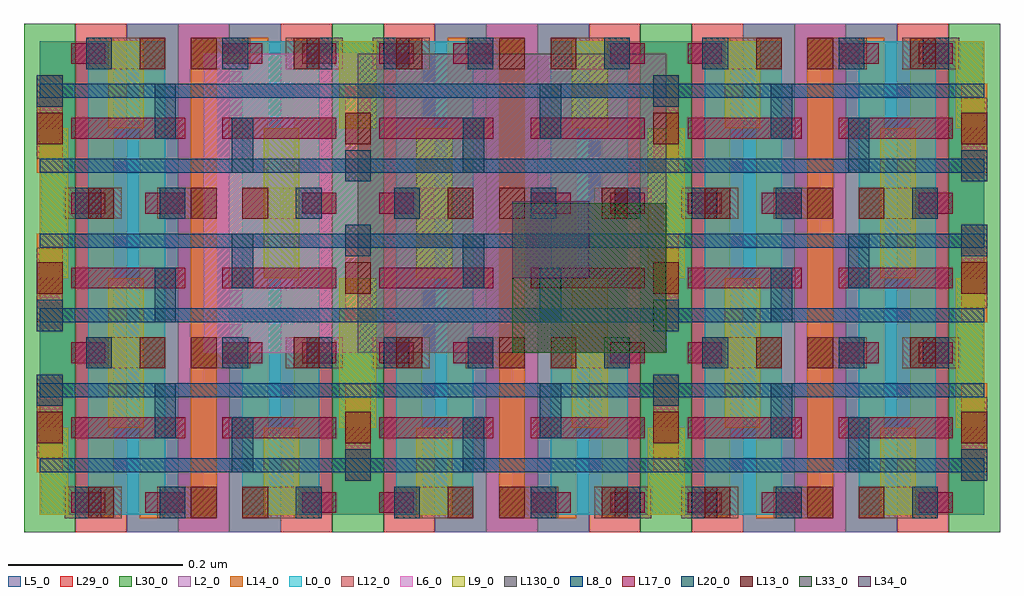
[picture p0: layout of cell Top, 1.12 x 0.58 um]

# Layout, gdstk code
import gdstk
lib = gdstk.Library(unit=1e-6, precision=1e-12)
def R(c, l, rs):  # rectangles x0, y0, x1, y1
    for r in rs: c.add(gdstk.rectangle(r[:2], r[2:], *l))
def A(c, l, x, y, w, h, nx, ny, dx, dy):  # array of equal rectangles
    R(c, l, [(x+i*dx, y+j*dy, x+i*dx+w, y+j*dy+h) for i in range(nx) for j in range(ny)])
L0_0 = (0, 0)
L2_0 = (2, 0)
L5_0 = (5, 0)
L6_0 = (6, 0)
L8_0 = (8, 0)
L9_0 = (9, 0)
L12_0 = (12, 0)
L13_0 = (13, 0)
L14_0 = (14, 0)
L17_0 = (17, 0)
L20_0 = (20, 0)
L29_0 = (29, 0)
L30_0 = (30, 0)
L33_0 = (33, 0)
L34_0 = (34, 0)
L130_0 = (130, 0)

top = lib.new_cell('Top')
A(top, L0_0, -0.5281, -0.287, 0.0886, 0.2, 6, 3, 0.1771, 0.172)
A(top, L2_0, -0.4838, -0.307, 0.105, 0.24, 1, 3, 0, 0.172)
A(top, L2_0, -0.4116, -0.307, 0.105, 0.24, 1, 3, 0, 0.172)
A(top, L2_0, -0.1296, -0.307, 0.105, 0.24, 1, 3, 0, 0.172)
A(top, L2_0, -0.0574, -0.307, 0.105, 0.24, 1, 3, 0, 0.172)
A(top, L2_0, 0.2247, -0.307, 0.105, 0.24, 1, 3, 0, 0.172)
A(top, L2_0, 0.2968, -0.307, 0.105, 0.24, 1, 3, 0, 0.172)
A(top, L5_0, -0.5838, -0.287, 0.1, 0.2, 1, 3, 0, 0.172)
A(top, L5_0, -0.3067, -0.287, 0.1, 0.2, 1, 3, 0, 0.172)
A(top, L5_0, -0.2296, -0.287, 0.1, 0.2, 1, 3, 0, 0.172)
A(top, L5_0, 0.0476, -0.287, 0.1, 0.2, 1, 3, 0, 0.172)
A(top, L5_0, 0.1246, -0.287, 0.1, 0.2, 1, 3, 0, 0.172)
A(top, L5_0, 0.4018, -0.287, 0.1, 0.2, 1, 3, 0, 0.172)
R(top, L5_0, [(-0.4838,-0.287,-0.3952,-0.139), (-0.041,-0.287,0.0476,-0.139), (0.2247,-0.287,0.3132,-0.139), (-0.3952,-0.235,-0.3067,-0.087), (-0.1296,-0.235,-0.041,-0.087), (0.3132,-0.235,0.4018,-0.087), (-0.3952,-0.115,-0.3067,0.033), (-0.1296,-0.115,-0.041,0.033), (0.3132,-0.115,0.4018,0.033), (-0.4838,-0.063,-0.3952,0.085), (-0.041,-0.063,0.0476,0.085), (0.2247,-0.063,0.3132,0.085), (-0.4838,0.057,-0.3952,0.205), (-0.041,0.057,0.0476,0.205), (0.2247,0.057,0.3132,0.205), (-0.3952,0.109,-0.3067,0.257), (-0.1296,0.109,-0.041,0.257), (0.3132,0.109,0.4018,0.257)])
R(top, L6_0, [(-0.3952,-0.101,0.1361,0.243)])
A(top, L8_0, -0.5838, -0.238, 0.205, 0.016, 1, 6, 0, 0.086)
A(top, L8_0, -0.4116, -0.238, 0.205, 0.016, 1, 6, 0, 0.086)
A(top, L8_0, -0.2296, -0.238, 0.205, 0.016, 1, 6, 0, 0.086)
A(top, L8_0, -0.0574, -0.238, 0.205, 0.016, 1, 6, 0, 0.086)
A(top, L8_0, 0.1246, -0.238, 0.205, 0.016, 1, 6, 0, 0.086)
A(top, L8_0, 0.2968, -0.238, 0.205, 0.016, 1, 6, 0, 0.086)
R(top, L9_0, [(-0.5838,-0.287,-0.551,-0.187), (-0.3264,-0.287,-0.2854,-0.187), (-0.1509,-0.287,-0.1099,-0.187), (0.1148,-0.287,0.1476,-0.187), (0.1246,-0.287,0.1574,-0.187), (0.3821,-0.287,0.4231,-0.187), (-0.5051,-0.187,-0.4641,-0.087), (-0.2394,-0.187,-0.2066,-0.087), (-0.2296,-0.187,-0.1968,-0.087), (0.0279,-0.187,0.0689,-0.087), (0.2034,-0.187,0.2444,-0.087), (0.469,-0.187,0.5018,-0.087), (-0.5051,-0.115,-0.4641,-0.015), (-0.2394,-0.115,-0.2066,-0.015), (-0.2296,-0.115,-0.1968,-0.015), (0.0279,-0.115,0.0689,-0.015), (0.2034,-0.115,0.2444,-0.015), (0.469,-0.115,0.5018,-0.015), (-0.5838,-0.015,-0.551,0.085), (-0.3264,-0.015,-0.2854,0.085), (-0.1509,-0.015,-0.1099,0.085), (0.1148,-0.015,0.1476,0.085), (0.1246,-0.015,0.1574,0.085), (0.3821,-0.015,0.4231,0.085), (-0.5838,0.057,-0.551,0.157), (-0.3264,0.057,-0.2854,0.157), (-0.1509,0.057,-0.1099,0.157), (0.1148,0.057,0.1476,0.157), (0.1246,0.057,0.1574,0.157), (0.3821,0.057,0.4231,0.157), (-0.5051,0.157,-0.4641,0.257), (-0.2394,0.157,-0.2066,0.257), (-0.2296,0.157,-0.1968,0.257), (0.0279,0.157,0.0689,0.257), (0.2034,0.157,0.2444,0.257), (0.469,0.157,0.5018,0.257)])
R(top, L12_0, [(-0.5551,-0.291,-0.4895,-0.255), (-0.4485,-0.291,-0.3805,-0.255), (-0.351,-0.291,-0.2599,-0.255), (-0.1763,-0.291,-0.0853,-0.255), (-0.0558,-0.291,0.0123,-0.255), (0.0533,-0.291,0.1189,-0.255), (0.1533,-0.291,0.2189,-0.255), (0.2599,-0.291,0.328,-0.255), (0.3575,-0.291,0.4485,-0.255), (-0.2329,-0.248,-0.2034,-0.152), (-0.2329,-0.248,-0.2034,-0.152), (0.4756,-0.248,0.5051,-0.152), (-0.5871,-0.222,-0.5576,-0.126), (0.1214,-0.222,0.1509,-0.126), (0.1214,-0.222,0.1509,-0.126), (-0.5305,-0.119,-0.4395,-0.083), (-0.5305,-0.119,-0.4395,-0.083), (-0.41,-0.119,-0.3419,-0.083), (-0.41,-0.119,-0.3419,-0.083), (-0.3009,-0.119,-0.2353,-0.083), (-0.3009,-0.119,-0.2353,-0.083), (-0.2009,-0.119,-0.1353,-0.083), (-0.2009,-0.119,-0.1353,-0.083), (-0.0943,-0.119,-0.0262,-0.083), (-0.0943,-0.119,-0.0262,-0.083), (0.0033,-0.119,0.0943,-0.083), (0.0033,-0.119,0.0943,-0.083), (0.1779,-0.119,0.269,-0.083), (0.1779,-0.119,0.269,-0.083), (0.2985,-0.119,0.3665,-0.083), (0.2985,-0.119,0.3665,-0.083), (0.4075,-0.119,0.4731,-0.083), (0.4075,-0.119,0.4731,-0.083), (-0.5871,-0.076,-0.5576,0.02), (0.1214,-0.076,0.1509,0.02), (0.1214,-0.076,0.1509,0.02), (-0.2329,-0.05,-0.2034,0.046), (-0.2329,-0.05,-0.2034,0.046), (0.4756,-0.05,0.5051,0.046), (-0.5551,0.053,-0.4895,0.089), (-0.5551,0.053,-0.4895,0.089), (-0.4485,0.053,-0.3805,0.089), (-0.4485,0.053,-0.3805,0.089), (-0.351,0.053,-0.2599,0.089), (-0.351,0.053,-0.2599,0.089), (-0.1763,0.053,-0.0853,0.089), (-0.1763,0.053,-0.0853,0.089), (-0.0558,0.053,0.0123,0.089), (-0.0558,0.053,0.0123,0.089), (0.0533,0.053,0.1189,0.089), (0.0533,0.053,0.1189,0.089), (0.1533,0.053,0.2189,0.089), (0.1533,0.053,0.2189,0.089), (0.2599,0.053,0.328,0.089), (0.2599,0.053,0.328,0.089), (0.3575,0.053,0.4485,0.089), (0.3575,0.053,0.4485,0.089), (-0.2329,0.096,-0.2034,0.192), (-0.2329,0.096,-0.2034,0.192), (0.4756,0.096,0.5051,0.192), (-0.5871,0.122,-0.5576,0.218), (0.1214,0.122,0.1509,0.218), (0.1214,0.122,0.1509,0.218), (-0.5305,0.225,-0.4395,0.261), (-0.41,0.225,-0.3419,0.261), (-0.3009,0.225,-0.2353,0.261), (-0.2009,0.225,-0.1353,0.261), (-0.0943,0.225,-0.0262,0.261), (0.0033,0.225,0.0943,0.261), (0.1779,0.225,0.269,0.261), (0.2985,0.225,0.3665,0.261), (0.4075,0.225,0.4731,0.261)])
A(top, L13_0, -0.0558, -0.291, 0.0295, 0.036, 4, 1, 0.1181, 0)
A(top, L13_0, -0.5871, -0.205, 0.0295, 0.036, 1, 3, 0, 0.172)
A(top, L13_0, 0.4756, -0.205, 0.0295, 0.036, 1, 3, 0, 0.172)
A(top, L13_0, -0.41, 0.225, 0.0295, 0.036, 4, 1, 0.1181, 0)
R(top, L13_0, [(-0.5281,-0.291,-0.4986,-0.255), (-0.41,-0.291,-0.3805,-0.255), (-0.351,-0.291,-0.3214,-0.255), (-0.1148,-0.291,-0.0853,-0.255), (0.3575,-0.291,0.387,-0.255), (-0.2329,-0.205,-0.2034,-0.169), (-0.2329,-0.205,-0.2034,-0.169), (0.1214,-0.205,0.1509,-0.169), (0.1214,-0.205,0.1509,-0.169), (-0.469,-0.119,-0.4395,-0.083), (-0.469,-0.119,-0.4395,-0.083), (-0.41,-0.119,-0.3805,-0.083), (-0.41,-0.119,-0.3805,-0.083), (-0.2919,-0.119,-0.2624,-0.083), (-0.2919,-0.119,-0.2624,-0.083), (-0.1738,-0.119,-0.1443,-0.083), (-0.1738,-0.119,-0.1443,-0.083), (-0.0558,-0.119,-0.0262,-0.083), (-0.0558,-0.119,-0.0262,-0.083), (0.0033,-0.119,0.0328,-0.083), (0.0033,-0.119,0.0328,-0.083), (0.2394,-0.119,0.269,-0.083), (0.2394,-0.119,0.269,-0.083), (0.2985,-0.119,0.328,-0.083), (0.2985,-0.119,0.328,-0.083), (0.4166,-0.119,0.4461,-0.083), (0.4166,-0.119,0.4461,-0.083), (-0.2329,-0.033,-0.2034,0.003), (-0.2329,-0.033,-0.2034,0.003), (0.1214,-0.033,0.1509,0.003), (0.1214,-0.033,0.1509,0.003), (-0.5281,0.053,-0.4986,0.089), (-0.5281,0.053,-0.4986,0.089), (-0.41,0.053,-0.3805,0.089), (-0.41,0.053,-0.3805,0.089), (-0.351,0.053,-0.3214,0.089), (-0.351,0.053,-0.3214,0.089), (-0.1148,0.053,-0.0853,0.089), (-0.1148,0.053,-0.0853,0.089), (-0.0558,0.053,-0.0262,0.089), (-0.0558,0.053,-0.0262,0.089), (0.0623,0.053,0.0918,0.089), (0.0623,0.053,0.0918,0.089), (0.1804,0.053,0.2099,0.089), (0.1804,0.053,0.2099,0.089), (0.2985,0.053,0.328,0.089), (0.2985,0.053,0.328,0.089), (0.3575,0.053,0.387,0.089), (0.3575,0.053,0.387,0.089), (-0.2329,0.139,-0.2034,0.175), (-0.2329,0.139,-0.2034,0.175), (0.1214,0.139,0.1509,0.175), (0.1214,0.139,0.1509,0.175), (-0.469,0.225,-0.4395,0.261), (0.0033,0.225,0.0328,0.261), (0.2394,0.225,0.269,0.261), (0.2985,0.225,0.328,0.261), (0.4166,0.225,0.4461,0.261)])
A(top, L14_0, -0.5281, -0.291, 0.0295, 0.208, 3, 3, 0.059, 0.172)
A(top, L14_0, -0.41, -0.291, 0.0295, 0.208, 3, 3, 0.059, 0.172)
A(top, L14_0, -0.1738, -0.291, 0.0295, 0.208, 3, 3, 0.059, 0.172)
A(top, L14_0, -0.0558, -0.291, 0.0295, 0.208, 3, 3, 0.059, 0.172)
A(top, L14_0, 0.1804, -0.291, 0.0295, 0.208, 3, 3, 0.059, 0.172)
A(top, L14_0, 0.2985, -0.291, 0.0295, 0.208, 3, 3, 0.059, 0.172)
A(top, L14_0, -0.5871, -0.238, 0.0295, 0.102, 1, 3, 0, 0.172)
A(top, L14_0, 0.4756, -0.238, 0.0295, 0.102, 1, 3, 0, 0.172)
R(top, L14_0, [(-0.2329,-0.238,-0.2034,-0.136), (-0.2329,-0.238,-0.2034,-0.136), (0.1214,-0.238,0.1509,-0.136), (0.1214,-0.238,0.1509,-0.136), (-0.2329,-0.066,-0.2034,0.036), (-0.2329,-0.066,-0.2034,0.036), (0.1214,-0.066,0.1509,0.036), (0.1214,-0.066,0.1509,0.036), (-0.2329,0.106,-0.2034,0.208), (-0.2329,0.106,-0.2034,0.208), (0.1214,0.106,0.1509,0.208), (0.1214,0.106,0.1509,0.208)])
A(top, L17_0, -0.5478, -0.199, 0.1312, 0.024, 1, 3, 0, 0.172)
A(top, L17_0, -0.3739, -0.199, 0.1312, 0.024, 1, 3, 0, 0.172)
A(top, L17_0, -0.1935, -0.199, 0.1312, 0.024, 1, 3, 0, 0.172)
A(top, L17_0, -0.0197, -0.199, 0.1312, 0.024, 1, 3, 0, 0.172)
A(top, L17_0, 0.1607, -0.199, 0.1312, 0.024, 1, 3, 0, 0.172)
A(top, L17_0, 0.3346, -0.199, 0.1312, 0.024, 1, 3, 0, 0.172)
R(top, L17_0, [(-0.5478,-0.285,-0.5084,-0.261), (-0.4625,-0.285,-0.4166,-0.261), (-0.2821,-0.285,-0.2427,-0.261), (-0.1935,-0.285,-0.1542,-0.261), (-0.0197,-0.285,0.0262,-0.261), (0.0722,-0.285,0.1115,-0.261), (0.1607,-0.285,0.2001,-0.261), (0.246,-0.285,0.2919,-0.261), (0.4264,-0.285,0.4658,-0.261), (-0.5478,-0.113,-0.5084,-0.089), (-0.5478,-0.113,-0.5084,-0.089), (-0.3739,-0.113,-0.328,-0.089), (-0.3739,-0.113,-0.328,-0.089), (-0.2821,-0.113,-0.2427,-0.089), (-0.2821,-0.113,-0.2427,-0.089), (-0.1935,-0.113,-0.1542,-0.089), (-0.1935,-0.113,-0.1542,-0.089), (-0.1082,-0.113,-0.0623,-0.089), (-0.1082,-0.113,-0.0623,-0.089), (0.0722,-0.113,0.1115,-0.089), (0.0722,-0.113,0.1115,-0.089), (0.1607,-0.113,0.2001,-0.089), (0.1607,-0.113,0.2001,-0.089), (0.3346,-0.113,0.3805,-0.089), (0.3346,-0.113,0.3805,-0.089), (0.4264,-0.113,0.4658,-0.089), (0.4264,-0.113,0.4658,-0.089), (-0.5478,0.059,-0.5084,0.083), (-0.5478,0.059,-0.5084,0.083), (-0.4625,0.059,-0.4166,0.083), (-0.4625,0.059,-0.4166,0.083), (-0.2821,0.059,-0.2427,0.083), (-0.2821,0.059,-0.2427,0.083), (-0.1935,0.059,-0.1542,0.083), (-0.1935,0.059,-0.1542,0.083), (-0.0197,0.059,0.0262,0.083), (-0.0197,0.059,0.0262,0.083), (0.0722,0.059,0.1115,0.083), (0.0722,0.059,0.1115,0.083), (0.1607,0.059,0.2001,0.083), (0.1607,0.059,0.2001,0.083), (0.246,0.059,0.2919,0.083), (0.246,0.059,0.2919,0.083), (0.4264,0.059,0.4658,0.083), (0.4264,0.059,0.4658,0.083), (-0.5478,0.231,-0.5084,0.255), (-0.3739,0.231,-0.328,0.255), (-0.2821,0.231,-0.2427,0.255), (-0.1935,0.231,-0.1542,0.255), (-0.1082,0.231,-0.0623,0.255), (0.0722,0.231,0.1115,0.255), (0.1607,0.231,0.2001,0.255), (0.3346,0.231,0.3805,0.255), (0.4264,0.231,0.4658,0.255)])
R(top, L20_0, [(-0.5428,-0.291,-0.5133,-0.255), (-0.4461,-0.291,-0.4166,-0.255), (-0.2895,-0.291,-0.2599,-0.255), (-0.1763,-0.291,-0.1468,-0.255), (-0.0197,-0.291,0.0098,-0.255), (0.0771,-0.291,0.1066,-0.255), (0.1656,-0.291,0.1952,-0.255), (0.2624,-0.291,0.2919,-0.255), (0.419,-0.291,0.4485,-0.255), (-0.2329,-0.248,-0.2034,-0.212), (-0.2329,-0.248,-0.2034,-0.212), (0.4756,-0.248,0.5051,-0.212), (-0.3633,-0.238,-0.3387,-0.175), (-0.0976,-0.238,-0.073,-0.175), (0.3452,-0.238,0.3698,-0.175), (-0.4518,-0.199,-0.4272,-0.136), (-0.009,-0.199,0.0156,-0.136), (0.2567,-0.199,0.2813,-0.136), (-0.5871,-0.162,-0.5576,-0.126), (0.1214,-0.162,0.1509,-0.126), (0.1214,-0.162,0.1509,-0.126), (-0.5305,-0.119,-0.501,-0.083), (-0.5305,-0.119,-0.501,-0.083), (-0.3739,-0.119,-0.3444,-0.083), (-0.3739,-0.119,-0.3444,-0.083), (-0.2772,-0.119,-0.2476,-0.083), (-0.2772,-0.119,-0.2476,-0.083), (-0.1886,-0.119,-0.1591,-0.083), (-0.1886,-0.119,-0.1591,-0.083), (-0.0918,-0.119,-0.0623,-0.083), (-0.0918,-0.119,-0.0623,-0.083), (0.0648,-0.119,0.0943,-0.083), (0.0648,-0.119,0.0943,-0.083), (0.1779,-0.119,0.2075,-0.083), (0.1779,-0.119,0.2075,-0.083), (0.3346,-0.119,0.3641,-0.083), (0.3346,-0.119,0.3641,-0.083), (0.4313,-0.119,0.4608,-0.083), (0.4313,-0.119,0.4608,-0.083), (-0.5871,-0.076,-0.5576,-0.04), (0.1214,-0.076,0.1509,-0.04), (0.1214,-0.076,0.1509,-0.04), (-0.4518,-0.066,-0.4272,-0.003), (-0.009,-0.066,0.0156,-0.003), (0.2567,-0.066,0.2813,-0.003), (-0.3633,-0.027,-0.3387,0.036), (-0.0976,-0.027,-0.073,0.036), (0.3452,-0.027,0.3698,0.036), (-0.2329,0.01,-0.2034,0.046), (-0.2329,0.01,-0.2034,0.046), (0.4756,0.01,0.5051,0.046), (-0.5428,0.053,-0.5133,0.089), (-0.5428,0.053,-0.5133,0.089), (-0.4461,0.053,-0.4166,0.089), (-0.4461,0.053,-0.4166,0.089), (-0.2895,0.053,-0.2599,0.089), (-0.2895,0.053,-0.2599,0.089), (-0.1763,0.053,-0.1468,0.089), (-0.1763,0.053,-0.1468,0.089), (-0.0197,0.053,0.0098,0.089), (-0.0197,0.053,0.0098,0.089), (0.0771,0.053,0.1066,0.089), (0.0771,0.053,0.1066,0.089), (0.1656,0.053,0.1952,0.089), (0.1656,0.053,0.1952,0.089), (0.2624,0.053,0.2919,0.089), (0.2624,0.053,0.2919,0.089), (0.419,0.053,0.4485,0.089), (0.419,0.053,0.4485,0.089), (-0.2329,0.096,-0.2034,0.132), (-0.2329,0.096,-0.2034,0.132), (0.4756,0.096,0.5051,0.132), (-0.3633,0.106,-0.3387,0.169), (-0.0976,0.106,-0.073,0.169), (0.3452,0.106,0.3698,0.169), (-0.4518,0.145,-0.4272,0.208), (-0.009,0.145,0.0156,0.208), (0.2567,0.145,0.2813,0.208), (-0.5871,0.182,-0.5576,0.218), (0.1214,0.182,0.1509,0.218), (0.1214,0.182,0.1509,0.218), (-0.5305,0.225,-0.501,0.261), (-0.3739,0.225,-0.3444,0.261), (-0.2772,0.225,-0.2476,0.261), (-0.1886,0.225,-0.1591,0.261), (-0.0918,0.225,-0.0623,0.261), (0.0648,0.225,0.0943,0.261), (0.1779,0.225,0.2075,0.261), (0.3346,0.225,0.3641,0.261), (0.4313,0.225,0.4608,0.261)])
A(top, L29_0, -0.5428, -0.307, 0.059, 0.24, 1, 3, 0, 0.172)
A(top, L29_0, -0.4248, -0.307, 0.059, 0.24, 1, 3, 0, 0.172)
A(top, L29_0, -0.4248, -0.307, 0.059, 0.24, 4, 3, 0.1181, 0.172)
A(top, L29_0, -0.0705, -0.307, 0.059, 0.24, 4, 3, 0.1181, 0.172)
A(top, L29_0, 0.2837, -0.307, 0.059, 0.24, 1, 3, 0, 0.172)
A(top, L29_0, 0.4018, -0.307, 0.059, 0.24, 1, 3, 0, 0.172)
A(top, L30_0, -0.6019, -0.307, 0.059, 0.24, 4, 3, 0.1181, 0.172)
A(top, L30_0, -0.2476, -0.307, 0.059, 0.24, 4, 3, 0.1181, 0.172)
A(top, L30_0, 0.1066, -0.307, 0.059, 0.24, 4, 3, 0.1181, 0.172)
R(top, L33_0, [(-0.041,-0.101,0.1361,0.071)])
R(top, L34_0, [(-0.041,-0.015,0.0476,0.073)])
R(top, L130_0, [(-0.2181,-0.101,0.1361,0.243)])

lib.write_gds('Top.gds')
